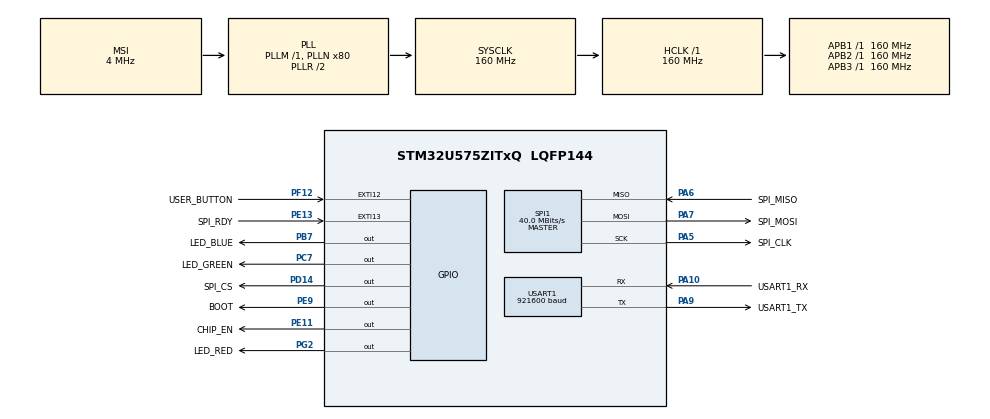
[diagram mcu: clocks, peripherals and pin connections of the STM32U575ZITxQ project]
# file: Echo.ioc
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CORTEX_M33_NS.userName=CORTEX_M33
ICACHE.BAR=external_2
ICACHE.Region=ICACHE_REGION_0
Mcu.Family=STM32U5
Mcu.Name=STM32U575ZITxQ
Mcu.Package=LQFP144
NVIC.EXTI12_IRQn=true\:0\:0\:false\:false\:true\:true\:true\:true
NVIC.EXTI13_IRQn=true\:0\:0\:false\:false\:true\:true\:true\:true
NVIC.PriorityGroup=NVIC_PRIORITYGROUP_4
NVIC.USART1_IRQn=true\:7\:0\:true\:false\:true\:true\:true\:true
PA10.GPIO_Label=USART1_RX
PA10.GPIO_PuPd=GPIO_NOPULL
PA10.GPIO_Speed=GPIO_SPEED_FREQ_VERY_HIGH
PA10.Mode=Asynchronous
PA10.Signal=USART1_RX
PA13\ (JTMS/SWDIO).Mode=Trace_Asynchronous_SW
PA13\ (JTMS/SWDIO).Signal=DEBUG_JTMS-SWDIO
PA14\ (JTCK/SWCLK).Mode=Trace_Asynchronous_SW
PA14\ (JTCK/SWCLK).Signal=DEBUG_JTCK-SWCLK
PA5.GPIO_Label=SPI_CLK
PA5.GPIO_Speed=GPIO_SPEED_FREQ_VERY_HIGH
PA5.Mode=Full_Duplex_Master
PA5.Signal=SPI1_SCK
PA6.GPIO_Label=SPI_MISO
PA6.GPIO_Speed=GPIO_SPEED_FREQ_VERY_HIGH
PA6.Mode=Full_Duplex_Master
PA6.Signal=SPI1_MISO
PA7.GPIO_Label=SPI_MOSI
PA7.GPIO_Speed=GPIO_SPEED_FREQ_VERY_HIGH
PA7.Mode=Full_Duplex_Master
PA7.Signal=SPI1_MOSI
PA9.GPIO_Label=USART1_TX
PA9.GPIO_PuPd=GPIO_NOPULL
PA9.GPIO_Speed=GPIO_SPEED_FREQ_VERY_HIGH
PA9.Mode=Asynchronous
PA9.Signal=USART1_TX
PB3\ (JTDO/TRACESWO).Mode=Trace_Asynchronous_SW
PB3\ (JTDO/TRACESWO).Signal=DEBUG_JTDO-SWO
PB7.GPIO_Label=LED_BLUE
PB7.GPIO_ModeDefaultOutputPP=GPIO_MODE_OUTPUT_PP
PB7.GPIO_PuPd=GPIO_NOPULL
PB7.GPIO_Speed=GPIO_SPEED_FREQ_LOW
PB7.Signal=GPIO_Output
PC14-OSC32_IN\ (PC14).Mode=LSE-External-Oscillator
PC14-OSC32_IN\ (PC14).Signal=RCC_OSC32_IN
PC15-OSC32_OUT\ (PC15).Mode=LSE-External-Oscillator
PC15-OSC32_OUT\ (PC15).Signal=RCC_OSC32_OUT
PC7.GPIO_Label=LED_GREEN
PC7.GPIO_PuPd=GPIO_NOPULL
PC7.GPIO_Speed=GPIO_SPEED_FREQ_LOW
PC7.Signal=GPIO_Output
PD14.GPIO_Label=SPI_CS
PD14.GPIO_PuPd=GPIO_NOPULL
PD14.GPIO_Speed=GPIO_SPEED_FREQ_HIGH
PD14.Signal=GPIO_Output
PE11.GPIO_Label=CHIP_EN
PE11.GPIO_Speed=GPIO_SPEED_FREQ_HIGH
PE11.Signal=GPIO_Output
PE13.GPIO_Label=SPI_RDY
PE13.GPIO_ModeDefaultEXTI=GPIO_MODE_IT_RISING_FALLING
PE13.Signal=GPXTI13
PE9.GPIO_Label=BOOT
PE9.Signal=GPIO_Output
PF12.GPIO_Label=USER_BUTTON
PF12.GPIO_ModeDefaultEXTI=GPIO_MODE_IT_FALLING
PF12.GPIO_PuPd=GPIO_PULLUP
PF12.Signal=GPXTI12
PG2.GPIO_Label=LED_RED
PG2.GPIO_ModeDefaultOutputPP=GPIO_MODE_OUTPUT_PP
PG2.GPIO_PuPd=GPIO_NOPULL
PG2.GPIO_Speed=GPIO_SPEED_FREQ_LOW
PG2.Signal=GPIO_Output
PWR.PowerMode=PWR_SMPS_SUPPLY
ProjectManager.HeapSize=0x200
ProjectManager.StackSize=0x400
ProjectManager.TargetToolchain=STM32CubeIDE
RCC.ADCFreq_Value=16000000
RCC.AHBFreq_Value=160000000
RCC.APB1Freq_Value=160000000
RCC.APB1TimFreq_Value=160000000
RCC.APB2Freq_Value=160000000
RCC.APB2TimFreq_Value=160000000
RCC.APB3Freq_Value=160000000
RCC.CortexFreq_Value=160000000
RCC.DACCLockSelectionVirtual=RCC_DAC1CLKSOURCE_LSI
RCC.EPOD_VALUE=4000000
RCC.HCLKFreq_Value=160000000
RCC.HSE_VALUE=16000000
RCC.HSI48_VALUE=48000000
RCC.HSI_VALUE=16000000
RCC.LPTIM1CLockSelectionVirtual=RCC_LPTIM1CLKSOURCE_LSE
RCC.LSIDIV_VALUE=32000
RCC.MSI_VALUE=4000000
RCC.PLLN=80
RCC.SYSCLKFreq_VALUE=160000000
RCC.SYSCLKSource=RCC_SYSCLKSOURCE_PLLCLK
RCC.USBFreq_Value=48000000
RCC.VCOOutputFreq_Value=320000000
SPI1.BaudRatePrescaler=SPI_BAUDRATEPRESCALER_4
SPI1.CalculateBaudRate=40.0 MBits/s
SPI1.DataSize=SPI_DATASIZE_8BIT
SPI1.Direction=SPI_DIRECTION_2LINES
SPI1.Mode=SPI_MODE_MASTER
SPI1.VirtualType=VM_MASTER
USART1.BaudRate=921600
USART1.FIFOMode=FIFOMODE_ENABLE
USART1.TXFIFOThreshold=TXFIFO_THRESHOLD_EMPTY
USART1.VirtualMode-Asynchronous=VM_ASYNC
VP_ICACHE_VS_ENABLE_ICACHE_MEMORY.Mode=Memoryregions
VP_ICACHE_VS_ICACHE.Mode=DirectMappedCache
VP_LPBAMQUEUE_VS_QUEUE.Mode=QUEUEMODE
VP_LPBAM_VS_SIG1.Mode=SmartRun
VP_LPBAM_VS_SIG4.Mode=LPDMA1
VP_MEMORYMAP_VS_MEMORYMAP.Mode=CurAppReg
VP_PWR_VS_DBSignals.Mode=DisableDeadBatterySignals
VP_PWR_VS_LPOM.Mode=PowerOptimisation
VP_PWR_VS_SECSignals.Mode=Security/Privilege
board=NUCLEO-U575ZI-Q

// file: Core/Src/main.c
/* USER CODE BEGIN Header */
/**
 ******************************************************************************
 * @file           : main.c
 * @brief          : Main program body
 ******************************************************************************
 * @attention
 *
 * Copyright (c) 2025 STMicroelectronics.
 * All rights reserved.
 *
 * This software is licensed under terms that can be found in the LICENSE file
 * in the root directory of this software component.
 * If no LICENSE file comes with this software, it is provided AS-IS.
 *
 ******************************************************************************
 */
/* USER CODE END Header */
#include "main.h"

/* USER CODE BEGIN Includes */
#include "spi_iface.h"

/* USER CODE END Includes */

/* USER CODE BEGIN PD */
#define WIFI_SSID "mySSID"
#define WIFI_PASSWORD "myPassword"

/* USER CODE END PD */

SPI_HandleTypeDef hspi1;

UART_HandleTypeDef huart1;

/* USER CODE BEGIN PV */
volatile uint8_t wait_for_scan_report = 0;
volatile uint8_t wait_for_ip_report = 0;
volatile uint8_t wait_for_disconnect = 0;
volatile uint8_t ping_count = 0;
volatile uint32_t ping_time = 0;

/* USER CODE END PV */

void SystemClock_Config(void);
static void SystemPower_Config(void);
static void MX_GPIO_Init(void);
static void MX_ICACHE_Init(void);
static void MX_SPI1_Init(void);
static void MX_USART1_UART_Init(void);
/* USER CODE BEGIN PFP */
static void report_callback(char *report, int32_t report_len);

/* USER CODE END PFP */

/* USER CODE BEGIN 0 */
#if defined(__ICCARM__)
size_t __write(int file, unsigned char const *ptr, size_t len)
{
	size_t idx;
	unsigned char const *pdata = ptr;
	/* USER CODE BEGIN __write_1 */

	/* USER CODE END __write_1 */

	HAL_UART_Transmit(&huart2, pdata, len, 10000);
	return len;
	/* USER CODE BEGIN __write_End */

	/* USER CODE END __write_End */
}
#else

#if defined ( __GNUC__) && !defined(__clang__)
/* With GCC, small printf (option LD Linker->Libraries->Small printf
   set to 'Yes') calls __io_putchar() */
#define PUTCHAR_PROTOTYPE int __io_putchar(int ch)
#else
#define PUTCHAR_PROTOTYPE int fputc(int ch, FILE *f)
#endif

PUTCHAR_PROTOTYPE
{
	/* USER CODE BEGIN PUTCHAR_PROTOTYPE_1 */

	/* USER CODE END PUTCHAR_PROTOTYPE_1 */
	HAL_UART_Transmit(&huart1, (unsigned char *)&ch, 1, 1000);
	return ch;
	/* USER CODE BEGIN PUTCHAR_PROTOTYPE_End */

	/* USER CODE END PUTCHAR_PROTOTYPE_End */
}
#endif /* __ICCARM__ */

/* USER CODE END 0 */

int main(void)
{

  /* MCU Configuration--------------------------------------------------------*/

  /* Reset of all peripherals, Initializes the Flash interface and the Systick. */
  HAL_Init();

  /* Configure the System Power */
  SystemPower_Config();

  /* Configure the system clock */
  SystemClock_Config();

  /* Initialize all configured peripherals */
  MX_GPIO_Init();
  MX_ICACHE_Init();
  MX_SPI1_Init();
  MX_USART1_UART_Init();
  /* USER CODE BEGIN 2 */
  int32_t ret = 0;
  	char at_cmd[64];
  	char *resp = NULL;

  	ret = spi_iface_init(&report_callback);

  	spi_iface_command("AT+PWR=0", &resp);
  	free(resp);

  	spi_iface_command("AT+CWMODE=1,0", &resp);
  	free(resp);

  	spi_iface_command("AT+CWAUTOCONN=0", &resp);
  	free(resp);

  	spi_iface_command("AT+CWCOUNTRY=0,\"00\"", &resp);
  	free(resp);

  	spi_iface_command("AT+CWHOSTNAME=\"ST67_Min\"", &resp);
  	free(resp);

  	spi_iface_command("AT+SLCLDTIM", &resp);
  	free(resp);

  	spi_iface_command("AT+CWSTATE?", &resp);
  	free(resp);

  	spi_iface_command("AT+CWLAPOPT=1,3", &resp);
  	free(resp);

  	// delay with an empirical value, otherwise scan does not start
  	HAL_Delay(10);

  	wait_for_scan_report = 1;
  	spi_iface_command("AT+CWLAP=0,,,0", &resp);
  	free(resp);
  	while(wait_for_scan_report) {}

  	wait_for_ip_report = 1;
  	snprintf(at_cmd, sizeof(at_cmd), "AT+CWJAP=\"%s\",\"%s\"", WIFI_SSID, WIFI_PASSWORD);
  	spi_iface_command(at_cmd, &resp);
  	free(resp);
  	while(wait_for_ip_report) {}

  	spi_iface_command("AT+CIPSTA?", &resp);
  	printf("%s", resp);
  	free(resp);

  	ping_count = 8;
  	spi_iface_command("AT+PING=\"www.google.com\",64,8,500", &resp);
  	free(resp);
  	while(ping_count > 0) {}
  	printf("\r\nAverage ping time: %lu ms\r\n", ping_time / 8);

  	ret = spi_iface_command("AT+CWQAP", &resp);
  	free(resp);
  	printf("\r\nDisconnected\r\n");

  /* USER CODE END 2 */

  /* Infinite loop */
	while (1)
	{

	}
}

void SystemClock_Config(void)
{
  RCC_OscInitTypeDef RCC_OscInitStruct = {0};
  RCC_ClkInitTypeDef RCC_ClkInitStruct = {0};

  /** Configure the main internal regulator output voltage
  */
  if (HAL_PWREx_ControlVoltageScaling(PWR_REGULATOR_VOLTAGE_SCALE1) != HAL_OK)
  {
    Error_Handler();
  }

  /** Initializes the CPU, AHB and APB buses clocks
  */
  RCC_OscInitStruct.OscillatorType = RCC_OSCILLATORTYPE_MSI;
  RCC_OscInitStruct.MSIState = RCC_MSI_ON;
  RCC_OscInitStruct.MSICalibrationValue = RCC_MSICALIBRATION_DEFAULT;
  RCC_OscInitStruct.MSIClockRange = RCC_MSIRANGE_4;
  RCC_OscInitStruct.PLL.PLLState = RCC_PLL_ON;
  RCC_OscInitStruct.PLL.PLLSource = RCC_PLLSOURCE_MSI;
  RCC_OscInitStruct.PLL.PLLMBOOST = RCC_PLLMBOOST_DIV1;
  RCC_OscInitStruct.PLL.PLLM = 1;
  RCC_OscInitStruct.PLL.PLLN = 80;
  RCC_OscInitStruct.PLL.PLLP = 2;
  RCC_OscInitStruct.PLL.PLLQ = 2;
  RCC_OscInitStruct.PLL.PLLR = 2;
  RCC_OscInitStruct.PLL.PLLRGE = RCC_PLLVCIRANGE_0;
  RCC_OscInitStruct.PLL.PLLFRACN = 0;
  if (HAL_RCC_OscConfig(&RCC_OscInitStruct) != HAL_OK)
  {
    Error_Handler();
  }

  /** Initializes the CPU, AHB and APB buses clocks
  */
  RCC_ClkInitStruct.ClockType = RCC_CLOCKTYPE_HCLK|RCC_CLOCKTYPE_SYSCLK
                              |RCC_CLOCKTYPE_PCLK1|RCC_CLOCKTYPE_PCLK2
                              |RCC_CLOCKTYPE_PCLK3;
  RCC_ClkInitStruct.SYSCLKSource = RCC_SYSCLKSOURCE_PLLCLK;
  RCC_ClkInitStruct.AHBCLKDivider = RCC_SYSCLK_DIV1;
  RCC_ClkInitStruct.APB1CLKDivider = RCC_HCLK_DIV1;
  RCC_ClkInitStruct.APB2CLKDivider = RCC_HCLK_DIV1;
  RCC_ClkInitStruct.APB3CLKDivider = RCC_HCLK_DIV1;

  if (HAL_RCC_ClockConfig(&RCC_ClkInitStruct, FLASH_LATENCY_4) != HAL_OK)
  {
    Error_Handler();
  }
}

/**
  * @brief Power Configuration
  * @retval None
  */
static void SystemPower_Config(void)
{
  HAL_PWREx_EnableVddIO2();

  /*
   * Disable the internal Pull-Up in Dead Battery pins of UCPD peripheral
   */
  HAL_PWREx_DisableUCPDDeadBattery();

  /*
   * Switch to SMPS regulator instead of LDO
   */
  if (HAL_PWREx_ConfigSupply(PWR_SMPS_SUPPLY) != HAL_OK)
  {
    Error_Handler();
  }
}

static void MX_ICACHE_Init(void)
{

  ICACHE_RegionConfigTypeDef pRegionConfig = {0};

  /** Configure and enable region 0 for memory remapping
  */
  pRegionConfig.BaseAddress = 0x10000000;
  pRegionConfig.RemapAddress = 0x60000000;
  pRegionConfig.Size = ICACHE_REGIONSIZE_2MB;
  pRegionConfig.TrafficRoute = ICACHE_MASTER1_PORT;
  pRegionConfig.OutputBurstType = ICACHE_OUTPUT_BURST_WRAP;
  if (HAL_ICACHE_EnableRemapRegion(ICACHE_REGION_0, &pRegionConfig) != HAL_OK)
  {
    Error_Handler();
  }

  /** Enable instruction cache in 1-way (direct mapped cache)
  */
  if (HAL_ICACHE_ConfigAssociativityMode(ICACHE_1WAY) != HAL_OK)
  {
    Error_Handler();
  }
  if (HAL_ICACHE_Enable() != HAL_OK)
  {
    Error_Handler();
  }

}

static void MX_SPI1_Init(void)
{

  SPI_AutonomousModeConfTypeDef HAL_SPI_AutonomousMode_Cfg_Struct = {0};

  /* SPI1 parameter configuration*/
  hspi1.Instance = SPI1;
  hspi1.Init.Mode = SPI_MODE_MASTER;
  hspi1.Init.Direction = SPI_DIRECTION_2LINES;
  hspi1.Init.DataSize = SPI_DATASIZE_8BIT;
  hspi1.Init.CLKPolarity = SPI_POLARITY_LOW;
  hspi1.Init.CLKPhase = SPI_PHASE_1EDGE;
  hspi1.Init.NSS = SPI_NSS_SOFT;
  hspi1.Init.BaudRatePrescaler = SPI_BAUDRATEPRESCALER_16;
  hspi1.Init.FirstBit = SPI_FIRSTBIT_MSB;
  hspi1.Init.TIMode = SPI_TIMODE_DISABLE;
  hspi1.Init.CRCCalculation = SPI_CRCCALCULATION_DISABLE;
  hspi1.Init.CRCPolynomial = 0x7;
  hspi1.Init.NSSPMode = SPI_NSS_PULSE_ENABLE;
  hspi1.Init.NSSPolarity = SPI_NSS_POLARITY_LOW;
  hspi1.Init.FifoThreshold = SPI_FIFO_THRESHOLD_01DATA;
  hspi1.Init.MasterSSIdleness = SPI_MASTER_SS_IDLENESS_00CYCLE;
  hspi1.Init.MasterInterDataIdleness = SPI_MASTER_INTERDATA_IDLENESS_00CYCLE;
  hspi1.Init.MasterReceiverAutoSusp = SPI_MASTER_RX_AUTOSUSP_DISABLE;
  hspi1.Init.MasterKeepIOState = SPI_MASTER_KEEP_IO_STATE_DISABLE;
  hspi1.Init.IOSwap = SPI_IO_SWAP_DISABLE;
  hspi1.Init.ReadyMasterManagement = SPI_RDY_MASTER_MANAGEMENT_INTERNALLY;
  hspi1.Init.ReadyPolarity = SPI_RDY_POLARITY_HIGH;
  if (HAL_SPI_Init(&hspi1) != HAL_OK)
  {
    Error_Handler();
  }
  HAL_SPI_AutonomousMode_Cfg_Struct.TriggerState = SPI_AUTO_MODE_DISABLE;
  HAL_SPI_AutonomousMode_Cfg_Struct.TriggerSelection = SPI_GRP1_GPDMA_CH0_TCF_TRG;
  HAL_SPI_AutonomousMode_Cfg_Struct.TriggerPolarity = SPI_TRIG_POLARITY_RISING;
  if (HAL_SPIEx_SetConfigAutonomousMode(&hspi1, &HAL_SPI_AutonomousMode_Cfg_Struct) != HAL_OK)
  {
    Error_Handler();
  }

}

static void MX_USART1_UART_Init(void)
{

  huart1.Instance = USART1;
  huart1.Init.BaudRate = 921600;
  huart1.Init.WordLength = UART_WORDLENGTH_8B;
  huart1.Init.StopBits = UART_STOPBITS_1;
  huart1.Init.Parity = UART_PARITY_NONE;
  huart1.Init.Mode = UART_MODE_TX_RX;
  huart1.Init.HwFlowCtl = UART_HWCONTROL_NONE;
  huart1.Init.OverSampling = UART_OVERSAMPLING_16;
  huart1.Init.OneBitSampling = UART_ONE_BIT_SAMPLE_DISABLE;
  huart1.Init.ClockPrescaler = UART_PRESCALER_DIV1;
  huart1.AdvancedInit.AdvFeatureInit = UART_ADVFEATURE_NO_INIT;
  if (HAL_UART_Init(&huart1) != HAL_OK)
  {
    Error_Handler();
  }
  if (HAL_UARTEx_SetTxFifoThreshold(&huart1, UART_TXFIFO_THRESHOLD_8_8) != HAL_OK)
  {
    Error_Handler();
  }
  if (HAL_UARTEx_SetRxFifoThreshold(&huart1, UART_RXFIFO_THRESHOLD_1_8) != HAL_OK)
  {
    Error_Handler();
  }
  if (HAL_UARTEx_EnableFifoMode(&huart1) != HAL_OK)
  {
    Error_Handler();
  }

}

static void MX_GPIO_Init(void)
{
  GPIO_InitTypeDef GPIO_InitStruct = {0};

  /* GPIO Ports Clock Enable */
  __HAL_RCC_GPIOC_CLK_ENABLE();
  __HAL_RCC_GPIOA_CLK_ENABLE();
  __HAL_RCC_GPIOF_CLK_ENABLE();
  __HAL_RCC_GPIOE_CLK_ENABLE();
  __HAL_RCC_GPIOD_CLK_ENABLE();
  __HAL_RCC_GPIOG_CLK_ENABLE();
  __HAL_RCC_GPIOB_CLK_ENABLE();

  /*Configure GPIO pin Output Level */
  HAL_GPIO_WritePin(GPIOE, BOOT_Pin|CHIP_EN_Pin, GPIO_PIN_RESET);

  /*Configure GPIO pin Output Level */
  HAL_GPIO_WritePin(SPI_CS_GPIO_Port, SPI_CS_Pin, GPIO_PIN_RESET);

  /*Configure GPIO pin Output Level */
  HAL_GPIO_WritePin(LED_RED_GPIO_Port, LED_RED_Pin, GPIO_PIN_RESET);

  /*Configure GPIO pin Output Level */
  HAL_GPIO_WritePin(LED_GREEN_GPIO_Port, LED_GREEN_Pin, GPIO_PIN_RESET);

  /*Configure GPIO pin Output Level */
  HAL_GPIO_WritePin(LED_BLUE_GPIO_Port, LED_BLUE_Pin, GPIO_PIN_RESET);

  /*Configure GPIO pin : USER_BUTTON_Pin */
  GPIO_InitStruct.Pin = USER_BUTTON_Pin;
  GPIO_InitStruct.Mode = GPIO_MODE_IT_FALLING;
  GPIO_InitStruct.Pull = GPIO_PULLUP;
  HAL_GPIO_Init(USER_BUTTON_GPIO_Port, &GPIO_InitStruct);

  /*Configure GPIO pin : BOOT_Pin */
  GPIO_InitStruct.Pin = BOOT_Pin;
  GPIO_InitStruct.Mode = GPIO_MODE_OUTPUT_PP;
  GPIO_InitStruct.Pull = GPIO_NOPULL;
  GPIO_InitStruct.Speed = GPIO_SPEED_FREQ_LOW;
  HAL_GPIO_Init(BOOT_GPIO_Port, &GPIO_InitStruct);

  /*Configure GPIO pin : CHIP_EN_Pin */
  GPIO_InitStruct.Pin = CHIP_EN_Pin;
  GPIO_InitStruct.Mode = GPIO_MODE_OUTPUT_PP;
  GPIO_InitStruct.Pull = GPIO_NOPULL;
  GPIO_InitStruct.Speed = GPIO_SPEED_FREQ_HIGH;
  HAL_GPIO_Init(CHIP_EN_GPIO_Port, &GPIO_InitStruct);

  /*Configure GPIO pin : SPI_RDY_Pin */
  GPIO_InitStruct.Pin = SPI_RDY_Pin;
  GPIO_InitStruct.Mode = GPIO_MODE_IT_RISING_FALLING;
  GPIO_InitStruct.Pull = GPIO_NOPULL;
  HAL_GPIO_Init(SPI_RDY_GPIO_Port, &GPIO_InitStruct);

  /*Configure GPIO pin : SPI_CS_Pin */
  GPIO_InitStruct.Pin = SPI_CS_Pin;
  GPIO_InitStruct.Mode = GPIO_MODE_OUTPUT_PP;
  GPIO_InitStruct.Pull = GPIO_NOPULL;
  GPIO_InitStruct.Speed = GPIO_SPEED_FREQ_HIGH;
  HAL_GPIO_Init(SPI_CS_GPIO_Port, &GPIO_InitStruct);

  /*Configure GPIO pin : LED_RED_Pin */
  GPIO_InitStruct.Pin = LED_RED_Pin;
  GPIO_InitStruct.Mode = GPIO_MODE_OUTPUT_PP;
  GPIO_InitStruct.Pull = GPIO_NOPULL;
  GPIO_InitStruct.Speed = GPIO_SPEED_FREQ_LOW;
  HAL_GPIO_Init(LED_RED_GPIO_Port, &GPIO_InitStruct);

  /*Configure GPIO pin : LED_GREEN_Pin */
  GPIO_InitStruct.Pin = LED_GREEN_Pin;
  GPIO_InitStruct.Mode = GPIO_MODE_OUTPUT_PP;
  GPIO_InitStruct.Pull = GPIO_NOPULL;
  GPIO_InitStruct.Speed = GPIO_SPEED_FREQ_LOW;
  HAL_GPIO_Init(LED_GREEN_GPIO_Port, &GPIO_InitStruct);

  /*Configure GPIO pin : LED_BLUE_Pin */
  GPIO_InitStruct.Pin = LED_BLUE_Pin;
  GPIO_InitStruct.Mode = GPIO_MODE_OUTPUT_PP;
  GPIO_InitStruct.Pull = GPIO_NOPULL;
  GPIO_InitStruct.Speed = GPIO_SPEED_FREQ_LOW;
  HAL_GPIO_Init(LED_BLUE_GPIO_Port, &GPIO_InitStruct);

  /* EXTI interrupt init*/
  HAL_NVIC_SetPriority(EXTI12_IRQn, 0, 0);
  HAL_NVIC_EnableIRQ(EXTI12_IRQn);

  HAL_NVIC_SetPriority(EXTI13_IRQn, 0, 0);
  HAL_NVIC_EnableIRQ(EXTI13_IRQn);

}

/* USER CODE BEGIN 4 */
static void report_callback(char *report, int32_t report_len)
{
	// ignore the 'busy' messages
	if (report_len == 14 && strncmp(report, "\r\nbusy p...\r\n", 14) == 0) {free(report); return;}

	printf("Report: %s", report);
	if (wait_for_scan_report == 1 && report_len == 16)
	{
		if (strncmp(report, "+CW:SCAN_DONE\r\n", 16) == 0) wait_for_scan_report = 0;
	}
	else if (wait_for_ip_report == 1 && report_len == 12)
	{
		if (strncmp(report, "+CW:GOTIP\r\n", 12) == 0) wait_for_ip_report = 0;
	}
	else if (ping_count > 0 && strncmp(report, "+PING:", 6) == 0)
	{
		ping_count--;
		uint32_t num = 0;
		sscanf(report, "+PING:%lu", &num);
		ping_time += num;
	}
	else if (wait_for_disconnect == 1 && report_len == 19)
	{
		if (strncmp(report, "+CW:DISCONNECTED\r\n", 19) == 0) wait_for_disconnect = 0;
	}
	free(report);
}

void HAL_GPIO_EXTI_Rising_Callback(uint16_t pin)
{
	/* USER CODE BEGIN EXTI_Rising_Callback_1 */

	/* USER CODE END EXTI_Rising_Callback_1 */
	/* Callback when data is available in Network CoProcessor to enable SPI Clock */
	if (pin == SPI_RDY_Pin)
	{
		spi_iface_ncp_ready_high();
	}
	/* USER CODE BEGIN EXTI_Rising_Callback_End */

	/* USER CODE END EXTI_Rising_Callback_End */
}

void HAL_GPIO_EXTI_Falling_Callback(uint16_t pin)
{
	/* USER CODE BEGIN EXTI_Falling_Callback_1 */

	/* USER CODE END EXTI_Falling_Callback_1 */
	/* Callback when data is available in Network CoProcessor to enable SPI Clock */
	if (pin == SPI_RDY_Pin)
	{
		spi_iface_ncp_ready_low();
	}

	/* Callback when user button is pressed */
	if (pin == USER_BUTTON_Pin)
	{

	}
	/* USER CODE BEGIN EXTI_Falling_Callback_End */

	/* USER CODE END EXTI_Falling_Callback_End */
}

/* USER CODE END 4 */

void Error_Handler(void)
{
	__disable_irq();
	while (1)
	{
	}
}
